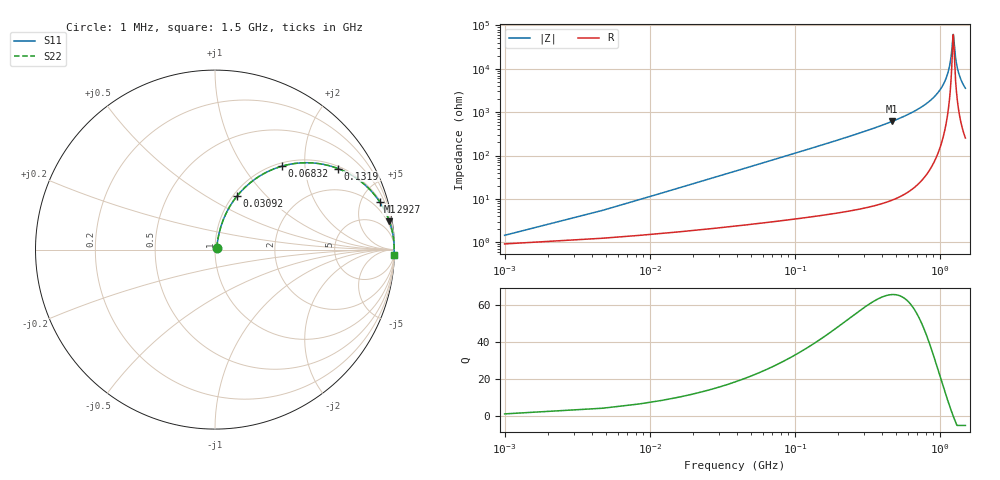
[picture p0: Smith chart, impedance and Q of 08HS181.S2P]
! Coilcraft 0805HS-181 Chip Inductor
! 13 June 2002
# MHZ S MA R 50
!Freq  MagS11  AngS11  MagS21  AngS21  MagS12  AngS12  MagS22  AngS22
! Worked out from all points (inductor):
!   402 points, 1 MHz to 1.5 GHz, reference 50 ohm
!   read as one part in series: L = 178 nH near 8.48 MHz
!   highest Q = 65.5 at 468.5 MHz (marker M1), where L = 208 nH
!   self-resonance near 1.235 GHz
!   S11 on the Smith chart (normalised r, x): 1 MHz: 1.02, +0.02; 30.92 MHz: 1.04, +0.69; 68.32 MHz: 1.06, +1.53; 131.9 MHz: 1.08, +2.98; 292.7 MHz: 1.12, +6.94; 1.5 GHz: 6, -71
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1  0.01432 50.1  0.9909 -0.6  0.9909 -0.6  0.01432 50.1
12.22  0.1342 75.7  0.9755 -7.7  0.9755 -7.7  0.1342 75.7
15.96  0.1737 74.5  0.9681 -10.0  0.9681 -10.0  0.1737 74.5
30.92  0.3214 67.7  0.927 -18.7  0.927 -18.7  0.3214 67.7
68.32  0.5977 51.1  0.7793 -36.7  0.7793 -36.7  0.5977 51.1
131.9  0.821 33.4  0.55 -55.2  0.55 -55.2  0.821 33.4
251.58  0.9413 18.7  0.3207 -70.2  0.3207 -70.2  0.9413 18.7
292.72  0.9565 16.0  0.2758 -73.0  0.2758 -73.0  0.9565 16.0
468.5  0.9845 9.3  0.1609 -79.9  0.1609 -79.9  0.9845 9.3
502.16  0.9869 8.4  0.1468 -80.7  0.1468 -80.7  0.9869 8.4
752.74  0.9957 4.3  0.07449 -84.6  0.07449 -84.6  0.9957 4.3
1003.32  0.9981 1.7  0.03047 -85.6  0.03047 -85.6  0.9981 1.7
1093.08  0.9984 1.0  0.01796 -84.3  0.01796 -84.3  0.9984 1.0
1156.66  0.9984 0.6  0.009827 -80.6  0.009827 -80.6  0.9984 0.6
1194.06  0.9984 0.3  0.005342 -72.8  0.005342 -72.8  0.9984 0.3
1235.2  0.9984 0.0  0.001613 -7.9  0.001613 -7.9  0.9984 0.0
1242.68  0.9984 -0.0  0.001732 21.9  0.001732 21.9  0.9984 -0.0
1253.9  0.9984 -0.1  0.002531 50.1  0.002531 50.1  0.9984 -0.1
1287.56  0.9983 -0.3  0.006002 73.6  0.006002 73.6  0.9983 -0.3
1332.44  0.9982 -0.6  0.01086 80.3  0.01086 80.3  0.9982 -0.6
1403.5  0.998 -1.0  0.01834 83.2  0.01834 83.2  0.998 -1.0
1500  0.9976 -1.6  0.02802 84.3  0.02802 84.3  0.9976 -1.6
